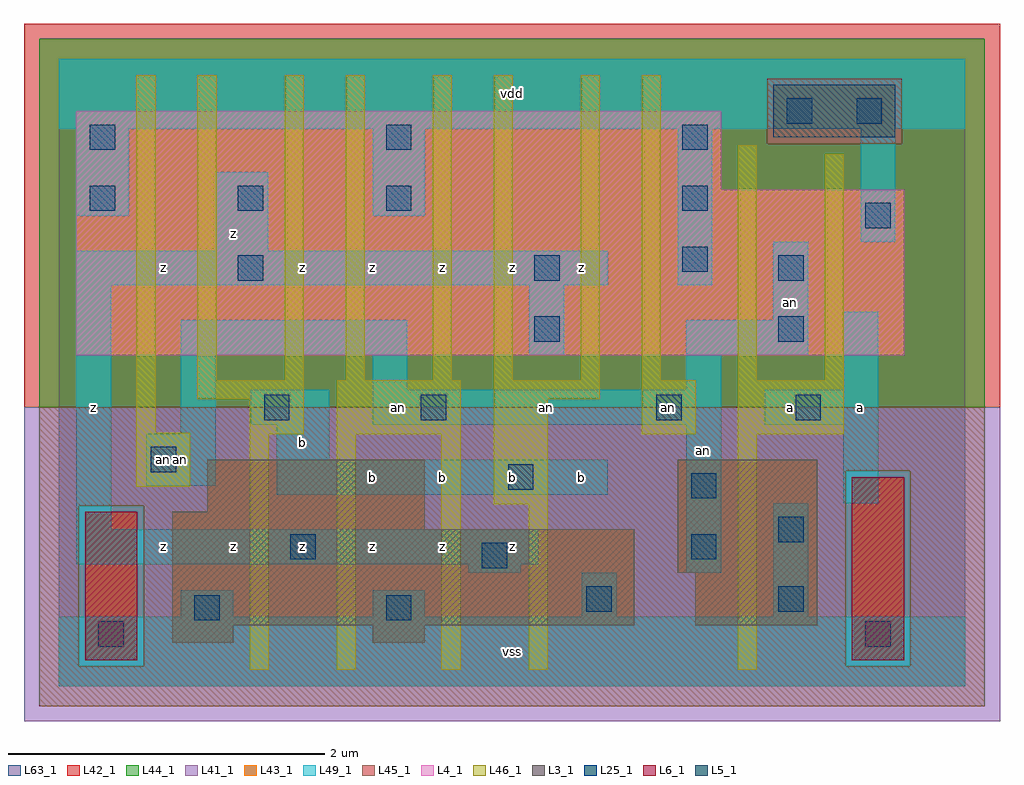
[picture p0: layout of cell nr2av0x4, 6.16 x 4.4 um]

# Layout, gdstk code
import gdstk
lib = gdstk.Library(unit=1e-6, precision=1e-09)
def R(c, l, rs):  # rectangles x0, y0, x1, y1
    for r in rs: c.add(gdstk.rectangle(r[:2], r[2:], *l))
def A(c, l, x, y, w, h, nx, ny, dx, dy):  # array of equal rectangles
    R(c, l, [(x+i*dx, y+j*dy, x+i*dx+w, y+j*dy+h) for i in range(nx) for j in range(ny)])
L3_1 = (3, 1)
L4_1 = (4, 1)
L5_1 = (5, 1)
L6_1 = (6, 1)
L25_1 = (25, 1)
L41_1 = (41, 1)
L42_1 = (42, 1)
L43_1 = (43, 1)
L44_1 = (44, 1)
L45_1 = (45, 1)
L46_1 = (46, 1)
L49_1 = (49, 1)
L63_1 = (63, 1)

nr2av0x4 = lib.new_cell('nr2av0x4')
R(nr2av0x4, L3_1, [(0.715,0.275,1.1,0.385), (1.98,0.275,2.31,0.385), (0.715,0.385,3.63,0.99), (4.015,0.385,4.785,0.715), (3.905,0.715,4.785,1.43), (0.715,0.99,2.31,1.1), (0.935,1.1,2.31,1.43)])
R(nr2av0x4, L4_1, [(0.11,2.09,5.335,3.135), (0.11,3.135,4.18,3.63)])
R(nr2av0x4, L5_1, [(4.51,3.465,5.28,3.795)])
R(nr2av0x4, L6_1, [(0.165,0.165,0.495,1.1), (5.005,0.165,5.335,1.32)])
A(nr2av0x4, L25_1, 0.195, 3, 0.16, 0.16, 3, 1, 0.935, 0)
A(nr2av0x4, L25_1, 0.195, 3.385, 0.16, 0.16, 3, 1, 1.87, 0)
R(nr2av0x4, L25_1, [(0.25,0.25,0.41,0.41), (5.09,0.25,5.25,0.41), (0.855,0.415,1.015,0.575), (2.065,0.415,2.225,0.575), (3.33,0.47,3.49,0.63), (4.54,0.47,4.7,0.63), (2.67,0.745,2.83,0.905), (1.46,0.8,1.62,0.96), (3.99,0.8,4.15,0.96), (4.54,0.91,4.7,1.07), (3.99,1.185,4.15,1.345), (2.835,1.24,2.995,1.4), (0.58,1.35,0.74,1.51), (1.295,1.68,1.455,1.84), (2.285,1.68,2.445,1.84), (3.77,1.68,3.93,1.84), (4.65,1.68,4.81,1.84), (3,2.175,3.16,2.335), (4.54,2.175,4.7,2.335), (1.13,2.56,1.29,2.72), (3,2.56,3.16,2.72), (4.54,2.56,4.7,2.72), (3.935,2.615,4.095,2.775), (5.09,2.89,5.25,3.05), (3.935,3,4.095,3.16), (4.595,3.55,4.755,3.71), (5.035,3.55,5.195,3.71)])
R(nr2av0x4, L41_1, [(-0.22,-0.22,5.94,1.76)])
R(nr2av0x4, L42_1, [(-0.22,1.76,5.94,4.18)])
R(nr2av0x4, L43_1, [(0.165,0.165,0.495,1.1), (5.005,0.165,5.335,1.32), (0.715,0.275,1.1,0.385), (1.98,0.275,2.31,0.385), (0.715,0.385,3.63,0.99), (4.015,0.385,4.785,0.715), (3.905,0.715,4.785,1.43), (0.715,0.99,2.31,1.1), (0.935,1.1,2.31,1.43), (0.11,2.09,5.335,3.135), (0.11,3.135,4.18,3.63), (4.51,3.465,5.28,3.795)])
R(nr2av0x4, L44_1, [(0.125,0.125,0.535,1.14), (4.965,0.125,5.375,1.36), (-0.125,1.76,5.845,3.425), (-0.125,3.425,4.47,3.835), (5.32,3.425,5.845,3.835), (-0.125,3.835,5.845,4.085)])
R(nr2av0x4, L45_1, [(-0.125,-0.125,5.845,0.125), (-0.125,0.125,0.125,1.14), (0.535,0.125,4.965,1.14), (5.375,0.125,5.845,1.36), (-0.125,1.14,4.965,1.36), (-0.125,1.36,5.845,1.76), (4.47,3.425,5.32,3.835)])
R(nr2av0x4, L46_1, [(1.205,0.105,1.325,1.59), (1.755,0.105,1.875,1.59), (2.415,0.105,2.535,1.59), (2.965,0.105,3.085,1.15), (4.285,0.105,4.405,1.59), (2.745,1.15,3.085,1.81), (0.49,1.26,0.83,1.6), (1.205,1.59,1.545,1.81), (1.755,1.59,2.535,1.93), (3.68,1.59,4.02,1.93), (4.285,1.59,4.955,1.93), (0.49,1.6,0.61,3.855), (0.875,1.81,1.545,1.93), (2.745,1.81,3.415,1.93), (0.875,1.93,0.995,3.855), (1.425,1.93,1.545,3.855), (1.81,1.93,1.93,3.855), (2.36,1.93,2.48,3.855), (2.745,1.93,2.865,3.855), (3.295,1.93,3.415,3.855), (3.68,1.93,3.8,3.855), (4.285,1.93,4.405,3.415), (4.835,1.93,4.955,3.36)])
R(nr2av0x4, L49_1, [(0,0,5.72,0.44), (0.77,0.44,1.1,0.605), (1.98,0.44,2.31,0.605), (3.3,0.44,3.52,0.715), (4.51,0.44,4.73,1.155), (2.585,0.715,2.915,0.77), (3.96,0.715,4.18,1.65), (0.11,0.77,3.025,0.99), (0.11,0.99,0.33,2.53), (4.95,1.155,5.17,1.65), (1.375,1.21,3.465,1.43), (0.55,1.265,0.99,1.595), (1.375,1.43,1.705,1.65), (0.77,1.595,0.99,2.09), (1.21,1.65,1.705,1.87), (1.98,1.65,4.18,1.87), (4.455,1.65,5.17,1.87), (1.98,1.87,2.2,2.09), (3.96,1.87,4.18,2.09), (4.95,1.87,5.17,2.365), (0.77,2.09,2.2,2.31), (2.97,2.09,3.19,2.53), (3.96,2.09,4.73,2.31), (4.51,2.31,4.73,2.805), (0.11,2.53,3.465,2.75), (3.905,2.53,4.125,3.52), (0.99,2.75,1.32,3.245), (5.06,2.805,5.28,3.52), (0.11,2.97,0.44,3.52), (1.98,2.97,2.31,3.52), (0,3.52,5.72,3.96)])
R(nr2av0x4, L63_1, [(0,0,5.72,3.96)])
nr2av0x4.add(gdstk.Label('an', (0.66,1.43), layer=49, texttype=1))
nr2av0x4.add(gdstk.Label('an', (2.145,1.76), layer=46, texttype=1))
nr2av0x4.add(gdstk.Label('an', (3.85,1.76), layer=49, texttype=1))
nr2av0x4.add(gdstk.Label('z', (0.66,0.88), layer=49, texttype=1))
nr2av0x4.add(gdstk.Label('z', (0.22,1.76), layer=49, texttype=1))
nr2av0x4.add(gdstk.Label('an', (0.77,1.43), layer=49, texttype=1))
nr2av0x4.add(gdstk.Label('z', (0.66,2.64), layer=49, texttype=1))
nr2av0x4.add(gdstk.Label('z', (1.54,0.88), layer=49, texttype=1))
nr2av0x4.add(gdstk.Label('z', (1.98,0.88), layer=49, texttype=1))
nr2av0x4.add(gdstk.Label('z', (1.1,0.88), layer=49, texttype=1))
nr2av0x4.add(gdstk.Label('b', (1.98,1.32), layer=49, texttype=1))
nr2av0x4.add(gdstk.Label('b', (1.54,1.54), layer=49, texttype=1))
nr2av0x4.add(gdstk.Label('z', (1.1,2.86), layer=49, texttype=1))
nr2av0x4.add(gdstk.Label('z', (1.54,2.64), layer=49, texttype=1))
nr2av0x4.add(gdstk.Label('z', (1.98,2.64), layer=49, texttype=1))
nr2av0x4.add(gdstk.Label('vss', (2.86,0.22), layer=49, texttype=1))
nr2av0x4.add(gdstk.Label('z', (2.86,0.88), layer=49, texttype=1))
nr2av0x4.add(gdstk.Label('z', (2.42,0.88), layer=49, texttype=1))
nr2av0x4.add(gdstk.Label('b', (2.42,1.32), layer=49, texttype=1))
nr2av0x4.add(gdstk.Label('b', (2.86,1.32), layer=49, texttype=1))
nr2av0x4.add(gdstk.Label('b', (3.3,1.32), layer=49, texttype=1))
nr2av0x4.add(gdstk.Label('z', (2.42,2.64), layer=49, texttype=1))
nr2av0x4.add(gdstk.Label('z', (2.86,2.64), layer=49, texttype=1))
nr2av0x4.add(gdstk.Label('z', (3.3,2.64), layer=49, texttype=1))
nr2av0x4.add(gdstk.Label('vdd', (2.86,3.74), layer=49, texttype=1))
nr2av0x4.add(gdstk.Label('an', (3.08,1.76), layer=49, texttype=1))
nr2av0x4.add(gdstk.Label('an', (4.07,1.485), layer=49, texttype=1))
nr2av0x4.add(gdstk.Label('a', (5.06,1.76), layer=49, texttype=1))
nr2av0x4.add(gdstk.Label('a', (4.62,1.76), layer=49, texttype=1))
nr2av0x4.add(gdstk.Label('an', (4.62,2.42), layer=49, texttype=1))

lib.write_gds('nr2av0x4.gds')
